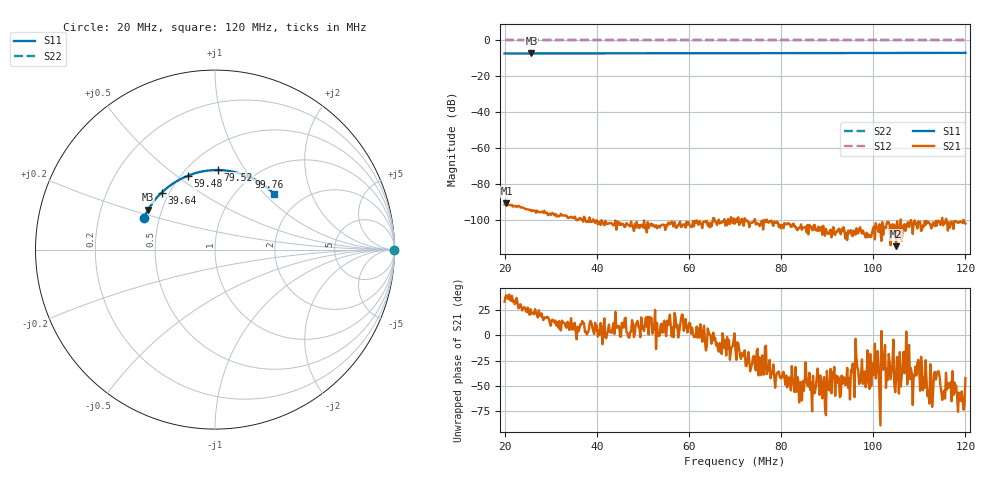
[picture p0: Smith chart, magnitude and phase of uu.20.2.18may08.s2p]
! Anritsu VNA Master:  Model: MS2036C/10/77
! SN:  1601066
! /bd0/18may08.cable.cal/uu.20.2.s2p
! Existing Calibration Information:
! TYPE:  Current Settings,  Active Cal Settings
! TIME:  05/08/2018 06:01:19 PM,  05/08/2018 05:57:55 PM
! INTERNAL TEMP:  49.3 C,  49.3 C
! # POINTS:  500,  500
! START FREQ:  20.000 MHz,  20.000 MHz
! STOP FREQ:  120.000 MHz,  120.000 MHz
! SOURCE POWER:  High,  High
! IFBW:  50 Hz,  50 Hz
! AVG FACTOR:  1 ,  1
! REF PLANE 1:  0 mm,  0 mm
! REF PLANE 2:  0 mm,  0 mm
! CAL TYPE:  Full S11,  Full S11
! CAL METHOD:  SOLT,  SOLT
! CAL LINE TYPE:  Coax,  Coax
! DUT PORT 1:  K-Conn(F),  K-Conn(F)
! DUT PORT 2:  K-Conn(F),  K-Conn(F)
! CAL STATUS:  OK: Accuracy High,  --
# GHZ S DB R 50.0
! FREQ.GHZ  S11DB  S11A  S21DB  S21A  S12DB  S12A  S22DB  S22A
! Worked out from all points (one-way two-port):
!   500 points, 20 MHz to 120 MHz, reference 50 ohm
!   highest |S21| = -90.75 dB at 20.4 MHz (marker M1); lowest = -114.5 dB at 105 MHz (marker M2)
!   lowest |S11| = -7.3 dB at 25.81 MHz (marker M3), VSWR 2.53, Z = 21 + j11.5 ohm
!   |S11| at or under -10 dB: nowhere
!   |S22| runs from 0.0 to 0.0 dB; largest |S21 - S12| = 1
!   S11 on the Smith chart (normalised r, x): 20 MHz: 0.41, +0.18; 39.64 MHz: 0.45, +0.36; 59.48 MHz: 0.54, +0.55; 79.52 MHz: 0.69, +0.76; 99.76 MHz: 0.97, +0.98; 120 MHz: 1.46, +1.14
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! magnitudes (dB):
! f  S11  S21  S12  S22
! 20 MHz  -7.2  -91.3  0.0  0.0
! 20.4 MHz  -7.2  -90.7  0.0  0.0
! 25.81 MHz  -7.3  -95.1  0.0  0.0
! 29.82 MHz  -7.3  -96.4  0.0  0.0
! 30.62 MHz  -7.2  -96.7  0.0  0.0
! 31.62 MHz  -7.2  -98.0  0.0  0.0
! 36.83 MHz  -7.2  -99.8  0.0  0.0
! 39.64 MHz  -7.2  -101.5  0.0  0.0
! 46.45 MHz  -7.2  -101.6  0.0  0.0
! 53.47 MHz  -7.2  -103.2  0.0  0.0
! 59.48 MHz  -7.2  -100.9  0.0  0.0
! 61.88 MHz  -7.2  -101.5  0.0  0.0
! 62.89 MHz  -7.1  -104.5  0.0  0.0
! 70.1 MHz  -7.1  -101.4  0.0  0.0
! 79.52 MHz  -7.1  -103.9  0.0  0.0
! 86.73 MHz  -7.0  -105.5  0.0  0.0
! 92.75 MHz  -7.0  -106.8  0.0  0.0
! 99.76 MHz  -7.0  -106.9  0.0  0.0
! 101 MHz  -7.0  -104.1  0.0  0.0
! 103.4 MHz  -7.0  -101.3  0.0  0.0
! 105 MHz  -7.0  -114.5  0.0  0.0
! 120 MHz  -6.9  -101.9  0.0  0.0
